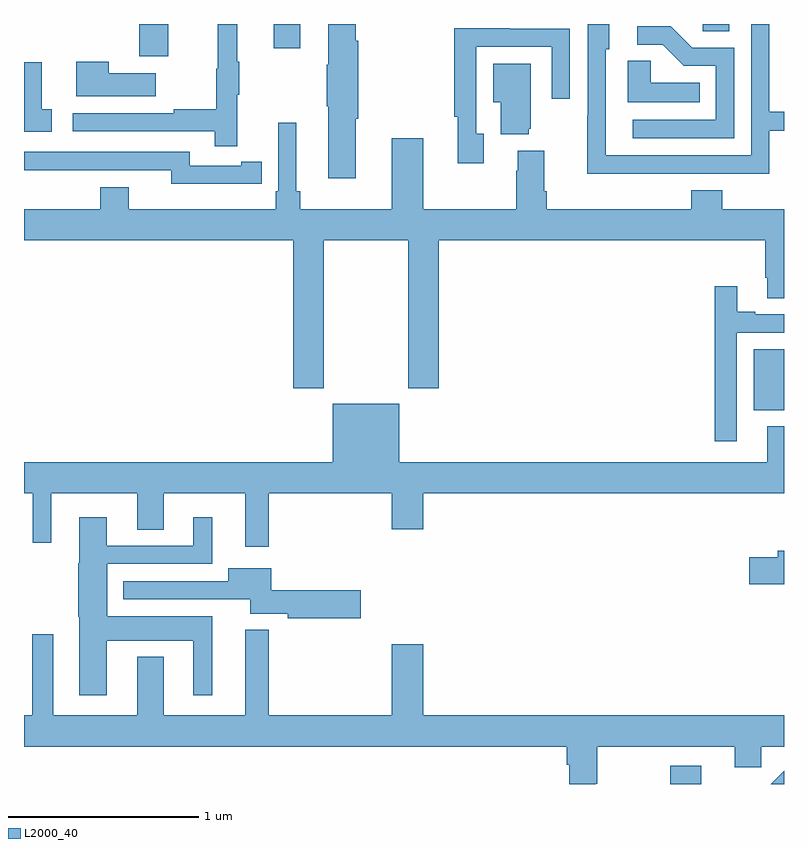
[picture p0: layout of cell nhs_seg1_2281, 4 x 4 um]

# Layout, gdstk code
import gdstk
lib = gdstk.Library(unit=1e-6, precision=1e-09)
def R(c, l, rs):  # rectangles x0, y0, x1, y1
    for r in rs: c.add(gdstk.rectangle(r[:2], r[2:], *l))
def P(c, l, *ps):  # polygons
    for p in ps: c.add(gdstk.Polygon(p, *l))
L2000_40 = (2000, 40)

nhs_seg1_2281 = lib.new_cell('nhs_seg1_2281')
R(nhs_seg1_2281, L2000_40, [(238.4,554.199,238.564,554.296), (238.841,556.166,239,556.486), (235.607,558.03,235.759,558.199), (236.315,558.072,236.455,558.199), (238.572,558.16,238.711,558.199)])
P(nhs_seg1_2281, L2000_40, [(236.123,557.827),(236.134,557.827),(236.134,558.001),(236.123,558.001),(236.123,558.199),(236.02,558.199),(236.02,557.964),(236.013,557.964),(236.013,557.75),(235.789,557.75),(235.789,557.73),(235.257,557.73),(235.257,557.634),(236.005,557.634),(236.005,557.556),(236.123,557.556)],
  [(236.746,557.7),(236.759,557.7),(236.759,558.11),(236.746,558.11),(236.746,558.199),(236.6,558.199),(236.6,557.984),(236.593,557.984),(236.593,557.767),(236.6,557.767),(236.6,557.388),(236.746,557.388)],
  [(238.427,557.412),(238.923,557.412),(238.923,557.637),(239,557.637),(239,557.738),(238.923,557.738),(238.923,558.199),(238.827,558.199),(238.827,557.508),(238.062,557.508),(238.062,558.066),(238.081,558.066),(238.081,558.199),(237.966,558.199),(237.966,557.717),(237.964,557.717),(237.964,557.411),(238.427,557.411)],
  [(238.737,558.075),(238.518,558.075),(238.405,558.188),(238.227,558.188),(238.227,558.09),(238.361,558.09),(238.472,557.979),(238.641,557.979),(238.641,557.694),(238.203,557.694),(238.203,557.598),(238.737,557.598)],
  [(237.421,557.622),(237.381,557.622),(237.381,558.078),(237.777,558.078),(237.777,557.805),(237.873,557.805),(237.873,558.174),(237.557,558.174),(237.557,558.176),(237.265,558.176),(237.265,557.71),(237.284,557.71),(237.284,557.466),(237.421,557.466)],
  [(238.556,557.89),(238.299,557.89),(238.299,558.005),(238.178,558.005),(238.178,557.786),(238.556,557.786)],
  [(235.693,557.941),(235.445,557.941),(235.445,558.001),(235.274,558.001),(235.274,557.819),(235.693,557.819)],
  [(235.147,557.751),(235.094,557.751),(235.094,557.998),(235,557.998),(235,557.631),(235.147,557.631)],
  [(237.656,557.649),(237.667,557.649),(237.667,557.989),(237.47,557.989),(237.47,557.786),(237.509,557.786),(237.509,557.618),(237.656,557.618)],
  [(236.417,556.281),(236.577,556.281),(236.577,557.06),(237.022,557.06),(237.022,556.281),(237.182,556.281),(237.182,557.06),(238.901,557.06),(238.901,556.864),(238.913,556.864),(238.913,556.756),(239,556.756),(239,557.224),(238.676,557.224),(238.676,557.323),(238.511,557.323),(238.511,557.224),(237.752,557.224),(237.752,557.32),(237.739,557.32),(237.739,557.533),(237.599,557.533),(237.599,557.426),(237.592,557.426),(237.592,557.224),(237.1,557.224),(237.1,557.599),(236.936,557.599),(236.936,557.224),(236.453,557.224),(236.453,557.32),(236.434,557.32),(236.434,557.68),(236.337,557.68),(236.337,557.32),(236.324,557.32),(236.324,557.224),(235.552,557.224),(235.552,557.341),(235.4,557.341),(235.4,557.224),(235,557.224),(235,557.06),(236.417,557.06)],
  [(236.144,557.358),(236.252,557.358),(236.252,557.474),(236.144,557.474),(236.144,557.454),(235.872,557.454),(235.872,557.526),(235,557.526),(235,557.429),(235.316,557.429),(235.316,557.43),(235.776,557.43),(235.776,557.357),(236.144,557.357)],
  [(238.752,556.575),(239,556.575),(239,556.671),(238.849,556.671),(238.849,556.684),(238.753,556.684),(238.753,556.819),(238.636,556.819),(238.636,556.002),(238.752,556.002)],
  [(236.287,555.728),(236.936,555.728),(236.936,555.54),(237.1,555.54),(237.1,555.728),(239,555.728),(239,556.081),(238.913,556.081),(238.913,555.892),(236.974,555.892),(236.974,556.201),(236.624,556.201),(236.624,555.892),(235,555.892),(235,555.728),(235.047,555.728),(235.047,555.468),(235.144,555.468),(235.144,555.728),(235.595,555.728),(235.595,555.538),(235.735,555.538),(235.735,555.728),(236.165,555.728),(236.165,555.447),(236.287,555.447)],
  [(235.435,554.954),(235.892,554.954),(235.892,554.667),(235.99,554.667),(235.99,555.082),(235.438,555.082),(235.438,555.357),(235.99,555.357),(235.99,555.604),(235.892,555.604),(235.892,555.453),(235.435,555.453),(235.435,555.604),(235.292,555.604),(235.292,555.36),(235.285,555.36),(235.285,555.078),(235.292,555.078),(235.292,554.667),(235.435,554.667)],
  [(239,555.427),(238.967,555.427),(238.967,555.393),(238.818,555.393),(238.818,555.251),(239,555.251)],
  [(236.773,555.218),(236.302,555.218),(236.302,555.334),(236.075,555.334),(236.075,555.267),(235.523,555.267),(235.523,555.171),(236.192,555.171),(236.192,555.095),(236.388,555.095),(236.388,555.071),(236.773,555.071)],
  [(238.009,554.2),(238.017,554.2),(238.017,554.396),(238.742,554.396),(238.742,554.286),(238.881,554.286),(238.881,554.396),(239,554.396),(239,554.56),(237.1,554.56),(237.1,554.935),(236.936,554.935),(236.936,554.56),(236.287,554.56),(236.287,555.01),(236.165,555.01),(236.165,554.56),(235.735,554.56),(235.735,554.869),(235.595,554.869),(235.595,554.56),(235.153,554.56),(235.153,554.986),(235.043,554.986),(235.043,554.56),(235,554.56),(235,554.396),(237.857,554.396),(237.857,554.3),(237.869,554.3),(237.869,554.199),(238.009,554.199)],
  [(239,554.27),(238.929,554.199),(239,554.199)])

lib.write_gds('nhs_seg1_2281.gds')
